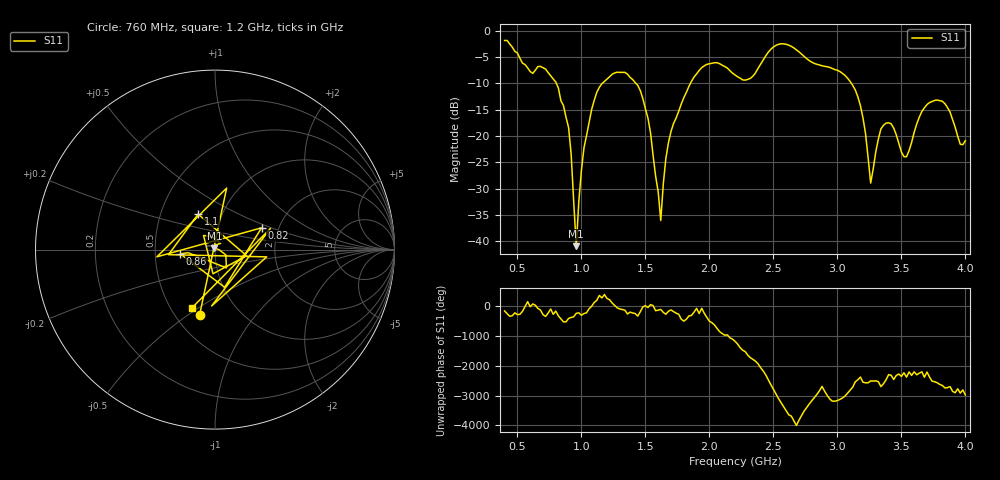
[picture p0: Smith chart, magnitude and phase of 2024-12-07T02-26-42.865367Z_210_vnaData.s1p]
!Created with skrf (http://scikit-rf.org).
# Hz S RI R 50.0
!freq ReS11 ImS11
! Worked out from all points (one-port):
!   181 points, 400 MHz to 4 GHz, reference 50 ohm
!   lowest |S11| = -40.9 dB at 960 MHz (marker M1), VSWR 1.02, Z = 49.6 + j0.822 ohm
!   |S11| at or under -10 dB: 804.8 MHz to 1.162 GHz (357.3 MHz wide, 36.3 % of centre); 1.427 GHz to 1.852 GHz (424.9 MHz wide, 25.9 % of centre); 3.11 GHz to end of sweep
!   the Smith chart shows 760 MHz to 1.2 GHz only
!   S11 on the Smith chart (normalised r, x): 760 MHz: 0.66, -0.56; 820 MHz: 1.63, +0.43; 860 MHz: 0.67, -0.03; 1.1 GHz: 0.77, +0.32; 1.2 GHz: 0.64, -0.47
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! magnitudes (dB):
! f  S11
! 400 MHz  -1.8
! 600 MHz  -7.7
! 760 MHz  -8.5
! 820 MHz  -10.9
! 860 MHz  -14.2
! 920 MHz  -23.5
! 960 MHz  -40.9
! 980 MHz  -32.3
! 1.02 GHz  -22.2
! 1.1 GHz  -13.2
! 1.2 GHz  -9.2
! 1.3 GHz  -7.9
! 1.48 GHz  -12.9
! 1.54 GHz  -19.4
! 1.62 GHz  -36.0
! 1.68 GHz  -21.3
! 1.76 GHz  -15.3
! 1.96 GHz  -6.6
! 2.2 GHz  -8.4
! 2.66 GHz  -3.2
! 3.1 GHz  -9.6
! 3.2 GHz  -16.6
! 3.26 GHz  -28.9
! 3.36 GHz  -17.9
! 3.56 GHz  -22.7
! 3.66 GHz  -15.3
! 3.76 GHz  -13.2
! 4 GHz  -20.9
